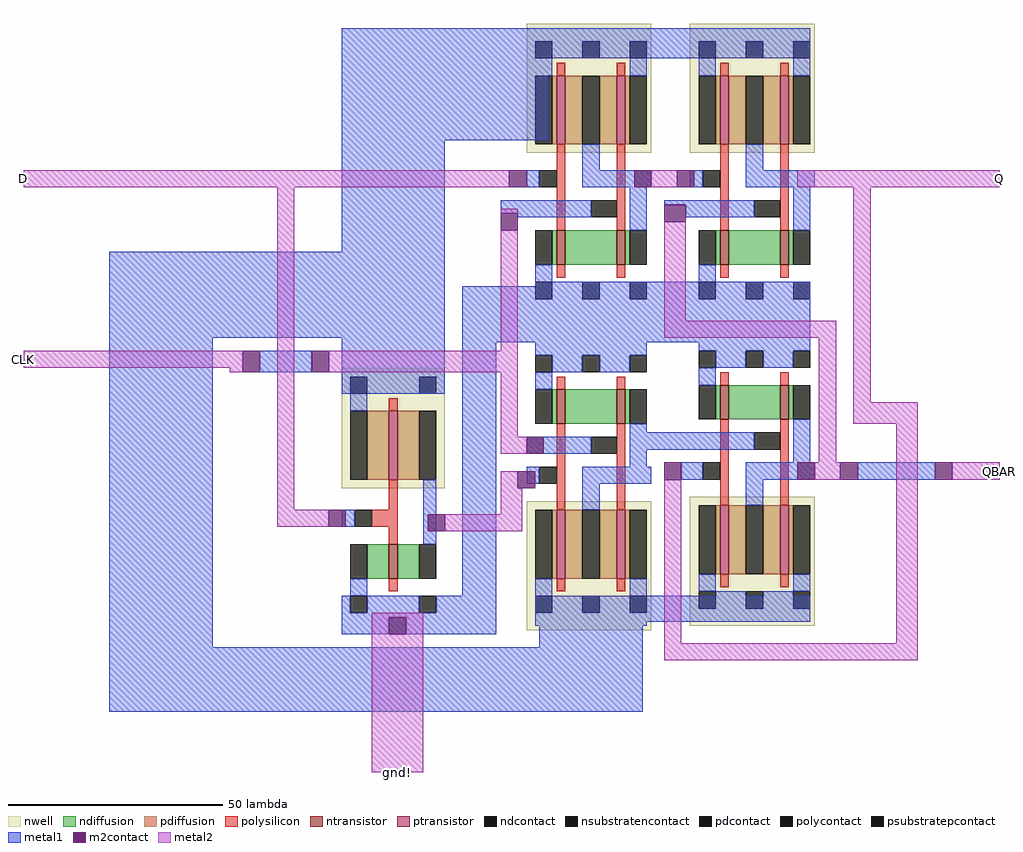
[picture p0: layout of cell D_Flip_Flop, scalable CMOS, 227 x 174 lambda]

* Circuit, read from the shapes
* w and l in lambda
.subckt D_Flip_Flop CLK D Q QBAR gnd! vdd!
M1 NAND_2/IN_A D gnd! gnd! nfet w=8 l=2
M2 NAND_2/DS NAND_2/IN_A gnd! gnd! nfet w=8 l=2
M3 NAND_0/DS D gnd! gnd! nfet w=8 l=2
M4 NAND_3/IN_B CLK NAND_2/DS gnd! nfet w=8 l=2
M5 NAND_1/IN_A CLK NAND_0/DS gnd! nfet w=8 l=2
M6 NAND_3/DS Q gnd! gnd! nfet w=8 l=2
M7 NAND_1/DS NAND_1/IN_A gnd! gnd! nfet w=8 l=2
M8 QBAR NAND_3/IN_B NAND_3/DS gnd! nfet w=8 l=2
M9 NAND_1/NAND_AB QBAR NAND_1/DS gnd! nfet w=8 l=2
M10 NAND_2/IN_A D vdd! vdd! pfet w=16 l=2
M11 NAND_3/IN_B NAND_2/IN_A vdd! vdd! pfet w=16 l=2
M12 NAND_1/IN_A D vdd! vdd! pfet w=16 l=2
M13 vdd! CLK NAND_3/IN_B vdd! pfet w=16 l=2
M14 vdd! CLK NAND_1/IN_A vdd! pfet w=16 l=2
M15 QBAR Q vdd! vdd! pfet w=16 l=2
M16 NAND_1/NAND_AB NAND_1/IN_A vdd! vdd! pfet w=16 l=2
M17 vdd! NAND_3/IN_B QBAR vdd! pfet w=16 l=2
M18 vdd! QBAR NAND_1/NAND_AB vdd! pfet w=16 l=2
.ends

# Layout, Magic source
magic
tech scmos
<< metal1 >>
rect -60 60 49 67
rect -60 41 -12 60
rect -60 15 -36 41
rect -17 30 -16 34
rect -23 24 -17 27
rect -19 23 -17 24
rect 15 26 23 27
rect 20 23 23 26
rect -114 -5 -36 15
rect -15 7 49 8
rect -114 -77 -90 -5
rect -79 -13 -67 -8
rect -60 -18 -36 -5
rect -32 -6 49 7
rect -32 -65 -24 -6
rect 8 -31 24 -27
rect 19 -38 22 -34
rect 60 -38 78 -34
rect -38 -74 -24 -65
rect -15 -71 49 -65
rect -14 -77 10 -71
rect -114 -92 10 -77
<< metal2 >>
rect -134 30 -21 34
rect 12 30 18 34
rect 46 30 93 34
rect -134 -12 -83 -8
rect -86 -13 -83 -12
rect -75 -45 -71 30
rect -23 24 -19 25
rect -23 -8 -19 20
rect 15 -1 20 22
rect 15 -5 55 -1
rect -63 -13 -19 -8
rect -23 -28 -19 -13
rect -23 -32 -17 -28
rect 51 -34 55 -5
rect 59 -20 63 30
rect 59 -25 74 -20
rect -23 -40 -19 -36
rect 50 -38 56 -34
rect -75 -49 -63 -45
rect -23 -46 -18 -40
rect -36 -50 -18 -46
rect -53 -70 -41 -69
rect -53 -74 -49 -70
rect -45 -74 -41 -70
rect -53 -106 -41 -74
rect 15 -76 19 -38
rect 69 -76 74 -25
rect 82 -38 93 -34
rect 15 -80 74 -76
<< m2contact >>
rect -21 30 -17 34
rect 8 30 12 34
rect 18 30 22 34
rect -23 20 -19 24
rect 15 22 20 26
rect -83 -13 -79 -8
rect -67 -13 -63 -8
rect -63 -49 -59 -45
rect -40 -50 -36 -46
rect -17 -32 -13 -28
rect -19 -40 -15 -36
rect 15 -38 19 -34
rect 46 -38 50 -34
rect 56 -38 60 -34
rect 78 -38 82 -34
rect -49 -74 -45 -70
use NAND  NAND_0
transform 1 0 -9 0 1 34
box -8 -34 21 34
use NAND  NAND_1
transform 1 0 29 0 1 34
box -8 -34 21 34
use Inverter  Inverter_0
transform 1 0 -56 0 1 -43
box -4 -31 20 31
use NAND  NAND_2
transform 1 0 -9 0 -1 -39
box -8 -34 21 34
use NAND  NAND_3
transform 1 0 29 0 -1 -38
box -8 -34 21 34
<< labels >>
rlabel metal2 -134 30 -134 34 3 D
rlabel metal2 -134 -12 -134 -8 3 CLK
rlabel metal2 93 30 93 34 7 Q
rlabel metal2 93 -38 93 -34 7 QBAR
rlabel metal2 -53 -106 -41 -106 1 gnd!
<< end >>

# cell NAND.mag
magic
tech scmos
<< nwell >>
rect -8 4 21 34
<< polysilicon >>
rect -1 22 1 25
rect 13 22 15 25
rect -1 -14 1 6
rect 13 -14 15 6
rect -1 -25 1 -22
rect 13 -25 15 -22
<< ndiffusion >>
rect -2 -22 -1 -14
rect 1 -22 13 -14
rect 15 -22 16 -14
<< pdiffusion >>
rect -2 6 -1 22
rect 1 6 5 22
rect 9 6 13 22
rect 15 6 16 22
<< metal1 >>
rect -6 30 20 33
rect -2 26 5 30
rect 9 26 16 30
rect -6 22 -2 26
rect 16 22 20 26
rect 5 0 9 6
rect -8 -4 -5 0
rect 5 -4 21 0
rect -8 -11 7 -7
rect 16 -14 20 -4
rect -6 -26 -2 -22
rect -2 -30 5 -26
rect 9 -30 16 -26
rect -6 -34 20 -30
<< ntransistor >>
rect -1 -22 1 -14
rect 13 -22 15 -14
<< ptransistor >>
rect -1 6 1 22
rect 13 6 15 22
<< polycontact >>
rect -5 -4 -1 0
rect 7 -11 13 -7
<< ndcontact >>
rect -6 -22 -2 -14
rect 16 -22 20 -14
<< pdcontact >>
rect -6 6 -2 22
rect 5 6 9 22
rect 16 6 20 22
<< psubstratepcontact >>
rect -6 -30 -2 -26
rect 5 -30 9 -26
rect 16 -30 20 -26
<< nsubstratencontact >>
rect -6 26 -2 30
rect 5 26 9 30
rect 16 26 20 30
<< labels >>
rlabel metal1 20 -4 20 0 7 NAND_AB
rlabel pdcontact 7 8 7 8 1 NAND_AB
rlabel ndiffusion 6 -17 6 -17 1 DS
rlabel nsubstratencontact 18 27 18 27 7 vdd!
rlabel polycontact 11 -10 11 -10 1 IN_B
rlabel metal1 18 -12 18 -12 7 NAND_AB
rlabel metal1 -8 -4 -8 0 3 IN_A
rlabel metal1 -8 -11 -8 -7 3 IN_B
rlabel psubstratepcontact -6 -30 -2 -26 2 gnd!
rlabel ndcontact -4 -18 -4 -18 3 gnd!
rlabel nsubstratencontact -6 26 -2 30 3 vdd!
<< end >>

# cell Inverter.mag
magic
tech scmos
<< nwell >>
rect -4 3 20 31
<< polysilicon >>
rect 7 21 9 24
rect 7 -2 9 5
rect 3 -6 9 -2
rect 7 -10 9 -6
rect 7 -21 9 -18
<< ndiffusion >>
rect 2 -18 7 -10
rect 9 -18 14 -10
<< pdiffusion >>
rect 2 5 7 21
rect 9 5 14 21
<< metal1 >>
rect -4 29 20 31
rect -4 25 -2 29
rect 2 25 14 29
rect 18 25 20 29
rect -2 21 2 25
rect -4 -6 -1 -2
rect 15 -10 18 5
rect -2 -22 2 -18
rect -4 -26 -2 -22
rect 2 -26 14 -22
rect 18 -26 19 -22
rect -4 -31 19 -26
<< ntransistor >>
rect 7 -18 9 -10
<< ptransistor >>
rect 7 5 9 21
<< polycontact >>
rect -1 -6 3 -2
<< ndcontact >>
rect -2 -18 2 -10
rect 14 -18 18 -10
<< pdcontact >>
rect -2 5 2 21
rect 14 5 18 21
<< psubstratepcontact >>
rect -2 -26 2 -22
rect 14 -26 18 -22
<< nsubstratencontact >>
rect -2 25 2 29
rect 14 25 18 29
<< labels >>
rlabel metal1 -3 -6 -3 -2 3 IN
rlabel nsubstratencontact -2 25 2 29 4 vdd!
rlabel psubstratepcontact -2 -26 2 -22 2 gnd!
rlabel metal1 17 -6 17 -2 7 OUT
<< end >>
